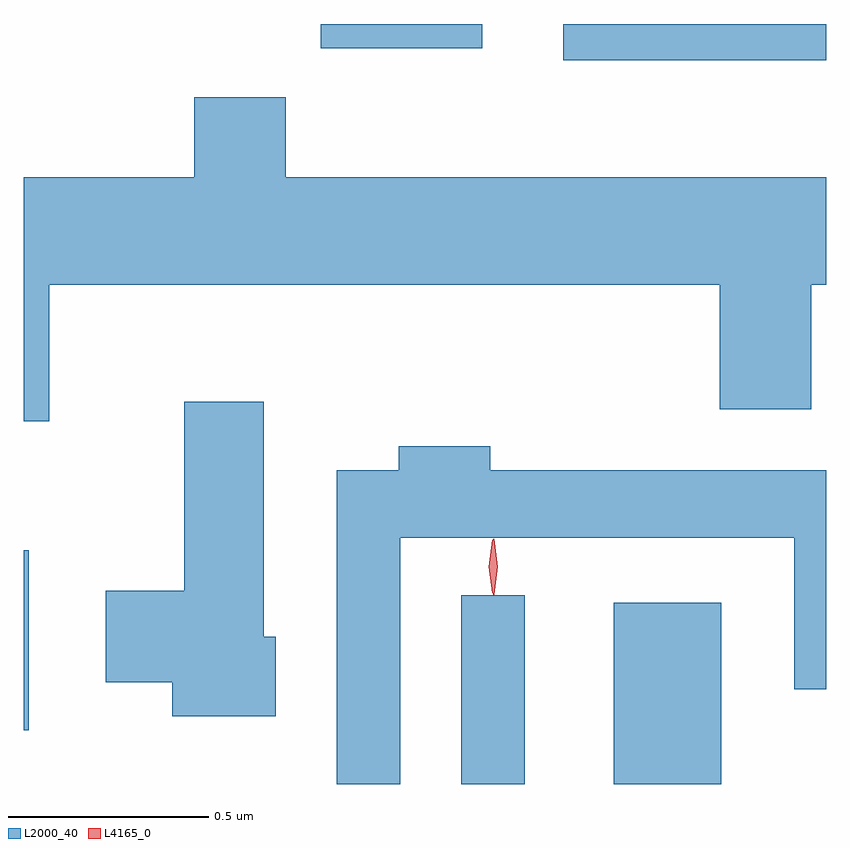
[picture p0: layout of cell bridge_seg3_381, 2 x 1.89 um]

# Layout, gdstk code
import gdstk
lib = gdstk.Library(unit=1e-6, precision=1e-09)
def R(c, l, rs):  # rectangles x0, y0, x1, y1
    for r in rs: c.add(gdstk.rectangle(r[:2], r[2:], *l))
def P(c, l, *ps):  # polygons
    for p in ps: c.add(gdstk.Polygon(p, *l))
L2000_40 = (2000, 40)
L4165_0 = (4165, 0)

bridge_seg3_381 = lib.new_cell('bridge_seg3_381')
R(bridge_seg3_381, L2000_40, [(652.586,1115.892,652.744,1116.363), (652.966,1115.892,653.234,1116.344), (651.496,1116.026,651.509,1116.474), (652.841,1117.696,653.496,1117.786), (652.236,1117.726,652.639,1117.786)])
P(bridge_seg3_381, L2000_40, [(651.559,1117.136),(653.231,1117.136),(653.231,1116.826),(653.459,1116.826),(653.459,1117.136),(653.496,1117.136),(653.496,1117.404),(652.149,1117.404),(652.149,1117.604),(651.921,1117.604),(651.921,1117.404),(651.496,1117.404),(651.496,1116.796),(651.559,1116.796)],
  [(652.124,1116.259),(652.094,1116.259),(652.094,1116.844),(651.896,1116.844),(651.896,1116.374),(651.701,1116.374),(651.701,1116.146),(651.866,1116.146),(651.866,1116.061),(652.124,1116.061)],
  [(652.434,1116.506),(653.416,1116.506),(653.416,1116.128),(653.496,1116.128),(653.496,1116.674),(652.659,1116.674),(652.659,1116.734),(652.431,1116.734),(652.431,1116.674),(652.276,1116.674),(652.276,1115.892),(652.434,1115.892)])
P(bridge_seg3_381, L4165_0, [(652.665,1116.367),(652.664,1116.368),(652.655,1116.434),(652.664,1116.5),(652.665,1116.501),(652.665,1116.5),(652.675,1116.434),(652.665,1116.368)],
  [(652.667,1116.363),(652.666,1116.364),(652.657,1116.433),(652.666,1116.502),(652.667,1116.503),(652.668,1116.502),(652.677,1116.433),(652.668,1116.364)])

lib.write_gds('bridge_seg3_381.gds')
